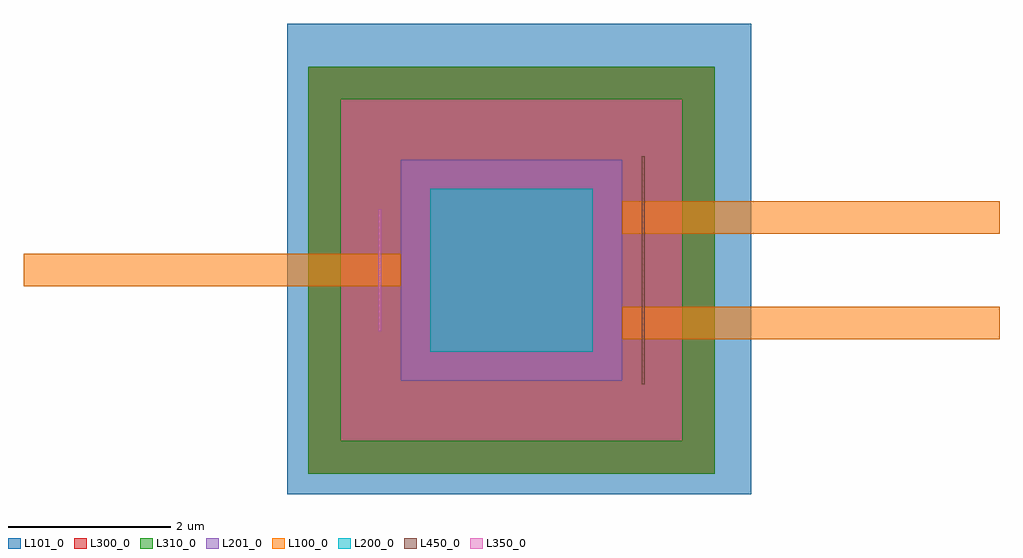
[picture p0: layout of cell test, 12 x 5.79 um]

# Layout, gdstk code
import gdstk
lib = gdstk.Library(unit=1e-6, precision=1e-09)
def R(c, l, rs):  # rectangles x0, y0, x1, y1
    for r in rs: c.add(gdstk.rectangle(r[:2], r[2:], *l))
L100_0 = (100, 0)
L101_0 = (101, 0)
L200_0 = (200, 0)
L201_0 = (201, 0)
L300_0 = (300, 0)
L310_0 = (310, 0)
L350_0 = (350, 0)
L450_0 = (450, 0)

test = lib.new_cell('test')
R(test, L100_0, [(1.36,-0.85,6,-0.45), (-6,-0.2,-1.36,0.2), (1.36,0.45,6,0.85)])
R(test, L101_0, [(-2.76,-2.755,2.95,3.03)])
R(test, L200_0, [(-1,-1,1,1)])
R(test, L201_0, [(-1.36,-1.36,1.36,1.36)])
R(test, L300_0, [(-2.5,-2.5,2.5,2.5)])
R(test, L310_0, [(-2.5,-2.5,-2.1,2.5), (-2.5,-2.5,2.5,-2.1), (2.1,-2.5,2.5,2.5), (-2.5,2.1,2.5,2.5)])
R(test, L350_0, [(-1.64,-0.75,-1.6,0.75)])
R(test, L450_0, [(1.6,-1.4,1.64,0.1), (1.6,-0.1,1.64,1.4)])

lib.write_gds('test.gds')
